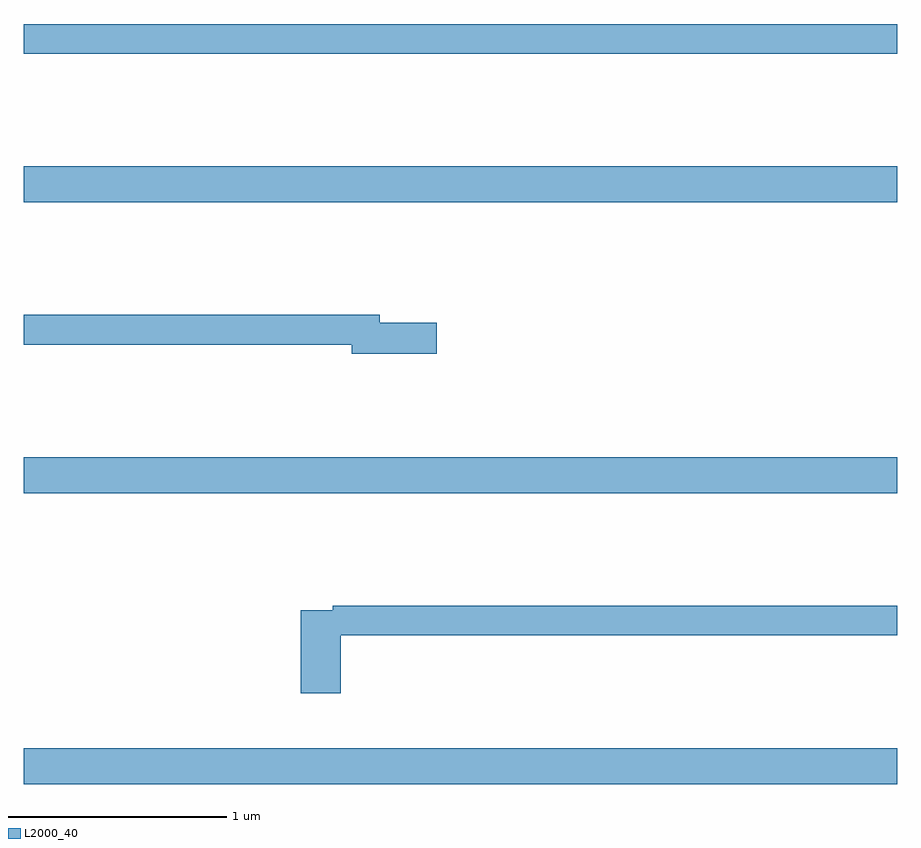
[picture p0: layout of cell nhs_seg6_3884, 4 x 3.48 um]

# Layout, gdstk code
import gdstk
lib = gdstk.Library(unit=1e-6, precision=1e-09)
def R(c, l, rs):  # rectangles x0, y0, x1, y1
    for r in rs: c.add(gdstk.rectangle(r[:2], r[2:], *l))
def A(c, l, x, y, w, h, nx, ny, dx, dy):  # array of equal rectangles
    R(c, l, [(x+i*dx, y+j*dy, x+i*dx+w, y+j*dy+h) for i in range(nx) for j in range(ny)])
def P(c, l, *ps):  # polygons
    for p in ps: c.add(gdstk.Polygon(p, *l))
L2000_40 = (2000, 40)

nhs_seg6_3884 = lib.new_cell('nhs_seg6_3884')
A(nhs_seg6_3884, L2000_40, 339, 985.964, 4, 0.164, 1, 3, 0, 1.332)
R(nhs_seg6_3884, L2000_40, [(339,989.308,343,989.444)])
P(nhs_seg6_3884, L2000_40, [(340.891,988.076),(340.63,988.076),(340.63,988.112),(339,988.112),(339,987.976),(340.502,987.976),(340.502,987.934),(340.891,987.934)],
  [(340.451,986.644),(343,986.644),(343,986.78),(340.414,986.78),(340.414,986.76),(340.268,986.76),(340.268,986.379),(340.451,986.379)])

lib.write_gds('nhs_seg6_3884.gds')
